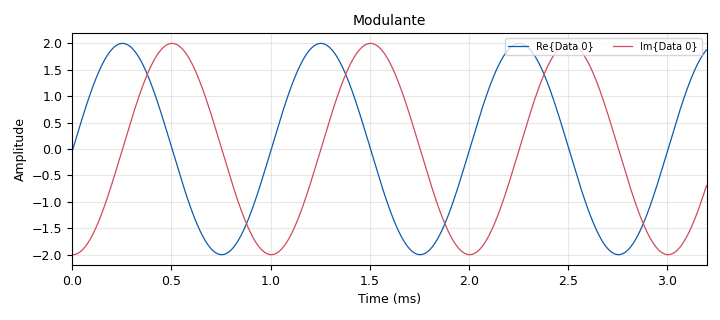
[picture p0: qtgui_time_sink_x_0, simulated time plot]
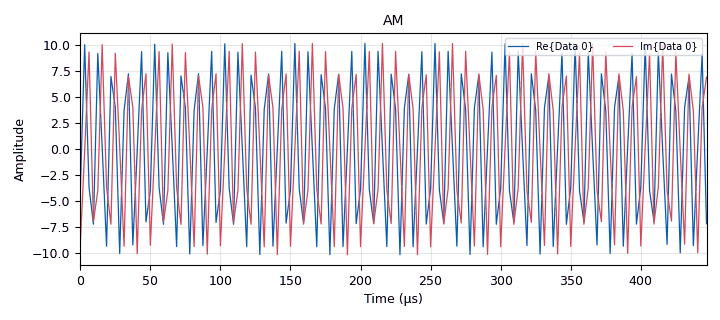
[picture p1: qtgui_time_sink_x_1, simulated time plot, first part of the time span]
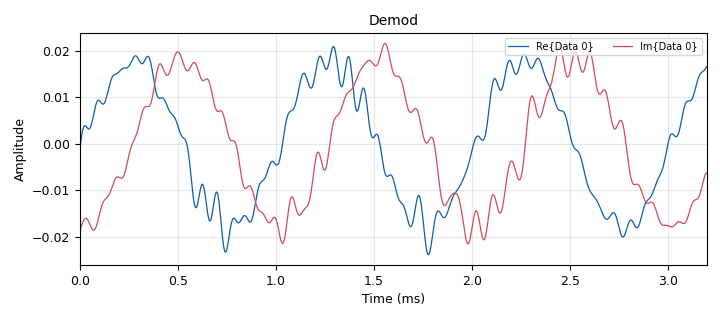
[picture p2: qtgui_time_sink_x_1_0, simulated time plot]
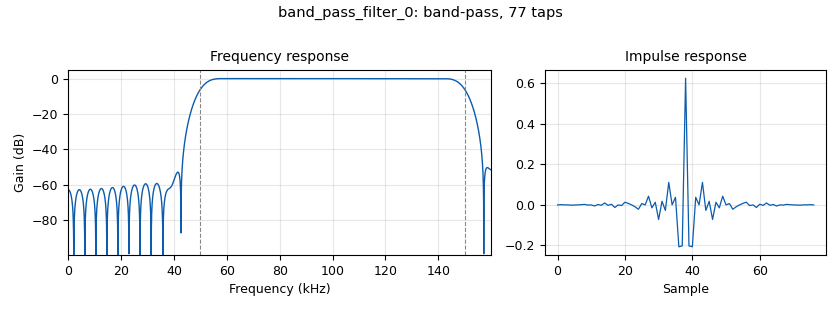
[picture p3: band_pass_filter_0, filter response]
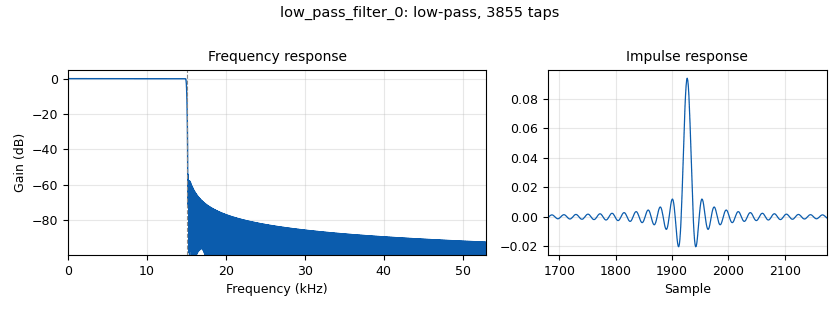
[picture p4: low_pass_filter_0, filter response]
options:
  parameters:
    author: Vazquez Leonardo
    generate_options: qt_gui
    id: am
    output_language: python
    title: Am mod-dem
  states: {}

blocks:
- name: M
  id: variable_qtgui_range
  parameters:
    label: M
    start: '0.01'
    step: '0.01'
    stop: '1'
    value: '0.01'
  states: {}
- name: fol
  id: variable_qtgui_range
  parameters:
    label: oscilator rx
    start: '1000'
    step: '5000'
    stop: '100000'
    value: '100000'
  states: {}
- name: noise
  id: variable_qtgui_range
  parameters:
    label: Noise
    start: '0.01'
    step: '0.01'
    stop: '1'
    value: '0.01'
  states: {}
- name: samp_rate
  id: variable
  parameters:
    value: '320000'
  states: {}
- name: analog_const_source_x_0
  id: analog_const_source_x
  parameters:
    const: '1'
    type: complex
  states: {}
- name: analog_sig_source_x_0
  id: analog_sig_source_x
  parameters:
    amp: '2'
    freq: '1000'
    offset: '0'
    phase: '0'
    samp_rate: samp_rate
    type: complex
    waveform: analog.GR_SIN_WAVE
  states: {}
- name: analog_sig_source_x_1
  id: analog_sig_source_x
  parameters:
    amp: '10'
    freq: '100000'
    offset: '0'
    phase: '0'
    samp_rate: samp_rate
    type: complex
    waveform: analog.GR_COS_WAVE
  states: {}
- name: analog_sig_source_x_1_0
  id: analog_sig_source_x
  parameters:
    amp: '1'
    freq: '-fol'
    offset: '0'
    phase: '0'
    samp_rate: samp_rate
    type: complex
    waveform: analog.GR_COS_WAVE
  states: {}
- name: band_pass_filter_0
  id: band_pass_filter
  parameters:
    decim: '1'
    gain: '1'
    high_cutoff_freq: '150000'
    low_cutoff_freq: '50000'
    samp_rate: samp_rate
    type: fir_filter_ccf
    width: '10000'
    win: window.WIN_HAMMING
  states: {}
- name: blocks_add_xx_0
  id: blocks_add_xx
  parameters:
    type: complex
  states: {}
- name: blocks_multiply_const_vxx_0
  id: blocks_multiply_const_vxx
  parameters:
    const: M
    type: complex
  states: {}
- name: blocks_multiply_xx_0
  id: blocks_multiply_xx
  parameters:
    type: complex
  states: {}
- name: blocks_multiply_xx_1
  id: blocks_multiply_xx
  parameters:
    type: complex
  states: {}
- name: channels_channel_model_0
  id: channels_channel_model
  parameters:
    epsilon: '1.0'
    freq_offset: '0.0'
    noise_voltage: noise
    seed: '0'
    taps: 1.0 + 1.0j
  states: {}
- name: dc_blocker_xx_0
  id: dc_blocker_xx
  parameters:
    length: '32'
    long_form: 'True'
    type: cc
  states: {}
- name: low_pass_filter_0
  id: low_pass_filter
  parameters:
    cutoff_freq: '15000'
    decim: '1'
    gain: '1'
    samp_rate: samp_rate
    type: fir_filter_ccf
    width: '200'
    win: window.WIN_HAMMING
  states: {}
- name: qtgui_time_sink_x_0
  id: qtgui_time_sink_x
  parameters:
    autoscale: 'True'
    name: '"Modulante"'
    size: '1024'
    srate: samp_rate
    tr_mode: qtgui.TRIG_MODE_AUTO
    type: complex
  states: {}
- name: qtgui_time_sink_x_1
  id: qtgui_time_sink_x
  parameters:
    autoscale: 'True'
    name: '"AM"'
    size: '1024'
    srate: samp_rate
    tr_mode: qtgui.TRIG_MODE_AUTO
    type: complex
  states: {}
- name: qtgui_time_sink_x_1_0
  id: qtgui_time_sink_x
  parameters:
    autoscale: 'True'
    name: '"Demod"'
    size: '1024'
    srate: samp_rate
    tr_mode: qtgui.TRIG_MODE_AUTO
    type: complex
  states: {}
- name: virtual_sink_0
  id: virtual_sink
  parameters:
    stream_id: AM Tx
  states: {}
- name: virtual_sink_1
  id: virtual_sink
  parameters:
    stream_id: AM Rx
  states: {}
- name: virtual_source_0
  id: virtual_source
  parameters:
    stream_id: AM Tx
  states: {}
- name: virtual_source_1
  id: virtual_source
  parameters:
    stream_id: AM Rx
  states: {}

connections:
- [analog_const_source_x_0, '0', blocks_add_xx_0, '0']
- [analog_sig_source_x_0, '0', blocks_multiply_const_vxx_0, '0']
- [analog_sig_source_x_0, '0', qtgui_time_sink_x_0, '0']
- [analog_sig_source_x_1, '0', blocks_multiply_xx_0, '1']
- [analog_sig_source_x_1_0, '0', blocks_multiply_xx_1, '1']
- [band_pass_filter_0, '0', blocks_multiply_xx_1, '0']
- [blocks_add_xx_0, '0', blocks_multiply_xx_0, '0']
- [blocks_multiply_const_vxx_0, '0', blocks_add_xx_0, '1']
- [blocks_multiply_xx_0, '0', qtgui_time_sink_x_1, '0']
- [blocks_multiply_xx_0, '0', virtual_sink_0, '0']
- [blocks_multiply_xx_1, '0', low_pass_filter_0, '0']
- [channels_channel_model_0, '0', virtual_sink_1, '0']
- [dc_blocker_xx_0, '0', qtgui_time_sink_x_1_0, '0']
- [low_pass_filter_0, '0', dc_blocker_xx_0, '0']
- [virtual_source_0, '0', channels_channel_model_0, '0']
- [virtual_source_1, '0', band_pass_filter_0, '0']

metadata:
  file_format: 1
